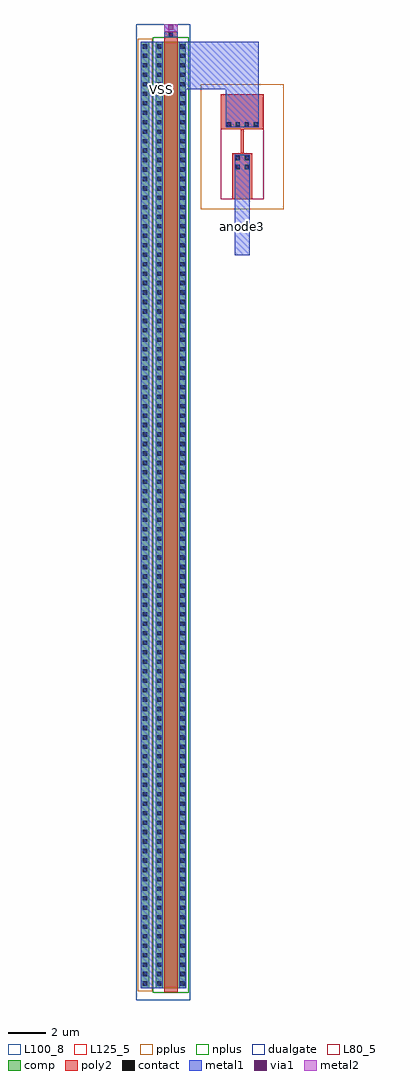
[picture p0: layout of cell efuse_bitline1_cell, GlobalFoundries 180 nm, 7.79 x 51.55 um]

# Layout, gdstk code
import gdstk
lib = gdstk.Library(unit=1e-6, precision=1e-09)
def R(c, l, rs):  # rectangles x0, y0, x1, y1
    for r in rs: c.add(gdstk.rectangle(r[:2], r[2:], *l))
def A(c, l, x, y, w, h, nx, ny, dx, dy):  # array of equal rectangles
    R(c, l, [(x+i*dx, y+j*dy, x+i*dx+w, y+j*dy+h) for i in range(nx) for j in range(ny)])
comp = (22, 0)
poly2 = (30, 0)
pplus = (31, 0)
nplus = (32, 0)
contact = (33, 0)
metal1 = (34, 0)
via1 = (35, 0)
metal2 = (36, 0)
dualgate = (55, 0)
L80_5 = (80, 5)
L100_8 = (100, 8)
L125_5 = (125, 5)

efuse_bitline1_cell = lib.new_cell('efuse_bitline1_cell')
R(efuse_bitline1_cell, comp, [(0.235,0.635,0.675,50.635), (1.035,0.635,2.615,50.635)])
R(efuse_bitline1_cell, poly2, [(1.475,0.415,2.175,50.855), (5.065,42.325,6.125,44.755), (5.505,44.755,5.685,46.015), (4.465,46.015,6.725,47.855), (1.475,50.855,2.175,51.17)])
R(efuse_bitline1_cell, pplus, [(0.075,0.475,0.835,50.795), (3.405,41.795,7.785,48.385)])
R(efuse_bitline1_cell, nplus, [(0.875,0.405,2.775,50.865)])
A(efuse_bitline1_cell, contact, 0.345, 0.775, 0.22, 0.22, 1, 100, 0, 0.5)
A(efuse_bitline1_cell, contact, 1.105, 0.775, 0.22, 0.22, 1, 100, 0, 0.5)
A(efuse_bitline1_cell, contact, 2.325, 0.775, 0.22, 0.22, 1, 100, 0, 0.5)
A(efuse_bitline1_cell, contact, 4.78, 46.17, 0.22, 0.22, 4, 1, 0.47, 0)
R(efuse_bitline1_cell, contact, [(5.25,43.91,5.47,44.13), (5.25,43.91,5.47,44.13), (5.72,43.91,5.94,44.13), (5.25,44.38,5.47,44.6), (5.72,44.38,5.94,44.6), (4.78,46.17,5,46.39), (1.715,50.88,1.935,51.1)])
R(efuse_bitline1_cell, metal1, [(1.025,0.625,1.405,50.645), (2.255,0.625,2.625,50.645), (0.235,0.635,1.405,50.645), (0.235,0.635,0.675,50.635), (0.675,0.995,1.025,3.495), (0.675,16.995,1.025,18.995), (5.19,39.365,6,44.66), (4.72,46.11,6.47,50.645), (2.255,48.13,6.28,50.645), (0.675,48.5,1.025,50.5), (1.475,50.87,2.175,51.57)])
R(efuse_bitline1_cell, via1, [(1.69,51.255,1.95,51.515)])
R(efuse_bitline1_cell, metal2, [(1.475,51.17,2.175,51.57)])
R(efuse_bitline1_cell, dualgate, [(-0.005,0.015,2.855,51.255), (-0.005,51.255,2.855,51.57)])
R(efuse_bitline1_cell, L80_5, [(4.465,42.325,6.725,47.855)])
R(efuse_bitline1_cell, L100_8, [(5.065,42.325,6.125,44.755)])
R(efuse_bitline1_cell, L125_5, [(5.505,44.755,5.685,46.015)])
efuse_bitline1_cell.add(gdstk.Label('VSS', (20.18,48.115), layer=34, texttype=10))
efuse_bitline1_cell.add(gdstk.Label('VSS', (1.305,48.13), layer=34, texttype=10))
efuse_bitline1_cell.add(gdstk.Label('anode3', (5.6,40.86), layer=34, texttype=10))

lib.write_gds('efuse_bitline1_cell.gds')
